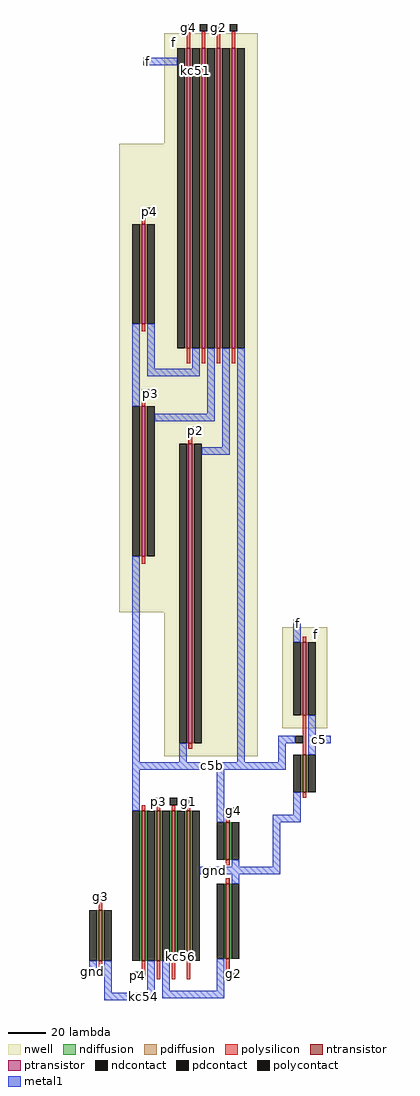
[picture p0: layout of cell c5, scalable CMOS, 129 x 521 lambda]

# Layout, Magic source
magic
tech scmos
<< nwell >>
rect -168 134 -118 193
rect -192 -116 -118 134
rect -168 -193 -118 -116
rect -105 -178 -81 -124
<< ntransistor >>
rect -94 -212 -92 -192
rect -203 -302 -201 -275
rect -180 -302 -178 -222
rect -172 -302 -170 -222
rect -164 -302 -162 -222
rect -156 -302 -154 -222
rect -135 -248 -133 -228
rect -135 -301 -133 -261
<< ptransistor >>
rect -180 38 -178 91
rect -156 25 -154 185
rect -148 25 -146 185
rect -140 25 -138 185
rect -132 25 -130 185
rect -180 -86 -178 -6
rect -155 -186 -153 -26
rect -94 -171 -92 -132
<< ndiffusion >>
rect -95 -212 -94 -192
rect -92 -212 -91 -192
rect -204 -302 -203 -275
rect -201 -302 -200 -275
rect -181 -302 -180 -222
rect -178 -302 -177 -222
rect -173 -302 -172 -222
rect -170 -302 -169 -222
rect -165 -302 -164 -222
rect -162 -302 -161 -222
rect -157 -302 -156 -222
rect -154 -302 -153 -222
rect -136 -248 -135 -228
rect -133 -248 -132 -228
rect -136 -301 -135 -261
rect -133 -301 -132 -261
<< pdiffusion >>
rect -181 38 -180 91
rect -178 38 -177 91
rect -157 25 -156 185
rect -154 25 -153 185
rect -149 25 -148 185
rect -146 25 -145 185
rect -141 25 -140 185
rect -138 25 -137 185
rect -133 25 -132 185
rect -130 25 -129 185
rect -181 -86 -180 -6
rect -178 -86 -177 -6
rect -156 -186 -155 -26
rect -153 -186 -152 -26
rect -95 -171 -94 -132
rect -92 -171 -91 -132
<< ndcontact >>
rect -99 -212 -95 -192
rect -91 -212 -87 -192
rect -208 -302 -204 -275
rect -200 -302 -196 -275
rect -185 -302 -181 -222
rect -177 -302 -173 -222
rect -169 -302 -165 -222
rect -161 -302 -157 -222
rect -153 -302 -149 -222
rect -140 -248 -136 -228
rect -132 -248 -128 -228
rect -140 -301 -136 -261
rect -132 -301 -128 -261
<< pdcontact >>
rect -185 38 -181 91
rect -177 38 -173 91
rect -161 25 -157 185
rect -153 25 -149 185
rect -145 25 -141 185
rect -137 25 -133 185
rect -129 25 -125 185
rect -185 -86 -181 -6
rect -177 -86 -173 -6
rect -160 -186 -156 -26
rect -152 -186 -148 -26
rect -99 -171 -95 -132
rect -91 -171 -87 -132
<< polysilicon >>
rect -156 185 -154 194
rect -148 185 -146 194
rect -140 185 -138 194
rect -132 185 -130 194
rect -180 91 -178 100
rect -180 34 -178 38
rect -156 17 -154 25
rect -148 17 -146 25
rect -140 17 -138 25
rect -132 17 -130 25
rect -180 -6 -178 3
rect -155 -26 -153 -17
rect -180 -90 -178 -86
rect -94 -132 -92 -129
rect -155 -189 -153 -186
rect -94 -192 -92 -171
rect -94 -215 -92 -212
rect -180 -222 -178 -219
rect -172 -222 -170 -219
rect -164 -222 -162 -219
rect -156 -222 -154 -219
rect -203 -275 -201 -270
rect -135 -228 -133 -220
rect -135 -251 -133 -248
rect -135 -261 -133 -258
rect -203 -306 -201 -302
rect -180 -312 -178 -302
rect -172 -312 -170 -302
rect -164 -312 -162 -302
rect -156 -312 -154 -302
rect -135 -311 -133 -301
<< polycontact >>
rect -157 194 -153 198
rect -149 194 -145 198
rect -141 194 -137 198
rect -133 194 -129 198
rect -178 96 -173 100
rect -178 -1 -173 3
rect -153 -21 -148 -17
rect -98 -186 -94 -182
rect -173 -219 -169 -215
rect -165 -219 -161 -215
rect -157 -219 -153 -215
rect -204 -270 -200 -266
rect -133 -224 -128 -220
rect -184 -312 -180 -308
rect -133 -311 -129 -307
<< metal1 >>
rect -179 176 -161 180
rect -185 -6 -181 38
rect -177 14 -173 38
rect -153 14 -149 25
rect -177 10 -149 14
rect -145 -10 -141 25
rect -173 -14 -141 -10
rect -185 -196 -181 -86
rect -137 -28 -133 25
rect -148 -32 -133 -28
rect -160 -196 -156 -186
rect -129 -196 -125 25
rect -99 -132 -95 -120
rect -91 -182 -87 -171
rect -107 -186 -98 -182
rect -91 -186 -79 -182
rect -107 -196 -103 -186
rect -91 -192 -87 -186
rect -185 -200 -103 -196
rect -185 -222 -181 -200
rect -208 -310 -204 -302
rect -200 -319 -196 -302
rect -177 -319 -173 -302
rect -200 -323 -173 -319
rect -140 -228 -136 -200
rect -99 -224 -95 -212
rect -110 -228 -95 -224
rect -132 -252 -128 -248
rect -110 -252 -106 -228
rect -149 -256 -106 -252
rect -132 -261 -128 -256
rect -169 -318 -165 -302
rect -140 -318 -136 -301
rect -169 -322 -136 -318
<< labels >>
rlabel polycontact -157 194 -153 198 5 g4
rlabel polycontact -149 194 -145 198 5 g3
rlabel polycontact -141 194 -137 198 5 g2
rlabel polycontact -133 194 -129 198 5 g1
rlabel metal1 -179 176 -175 180 1 f
rlabel nwell -165 186 -161 190 1 f
rlabel polycontact -153 -21 -149 -17 1 p2
rlabel polycontact -178 96 -174 100 1 p4
rlabel polycontact -178 -1 -173 3 1 p3
rlabel pdcontact -153 171 -149 175 1 kc51
rlabel pdcontact -145 171 -141 175 1 kc52
rlabel pdcontact -137 171 -133 175 1 kc53
rlabel polycontact -133 -224 -129 -220 1 g4
rlabel polycontact -204 -270 -200 -266 1 g3
rlabel polycontact -133 -311 -129 -307 1 g2
rlabel polycontact -184 -312 -180 -308 1 p4
rlabel polycontact -157 -219 -153 -215 1 g1
rlabel polycontact -173 -219 -169 -215 1 p3
rlabel polycontact -165 -219 -161 -215 1 p2
rlabel metal1 -143 -256 -139 -252 1 gnd
rlabel metal1 -181 -323 -177 -319 1 kc54
rlabel metal1 -169 -322 -165 -318 1 kc55
rlabel ndcontact -161 -302 -157 -298 1 kc56
rlabel metal1 -208 -310 -204 -306 3 gnd
rlabel metal1 -87 -186 -83 -182 1 c5
rlabel metal1 -144 -200 -140 -196 1 c5b
rlabel metal1 -99 -124 -95 -120 1 f
rlabel nwell -89 -130 -85 -126 1 f
<< end >>
